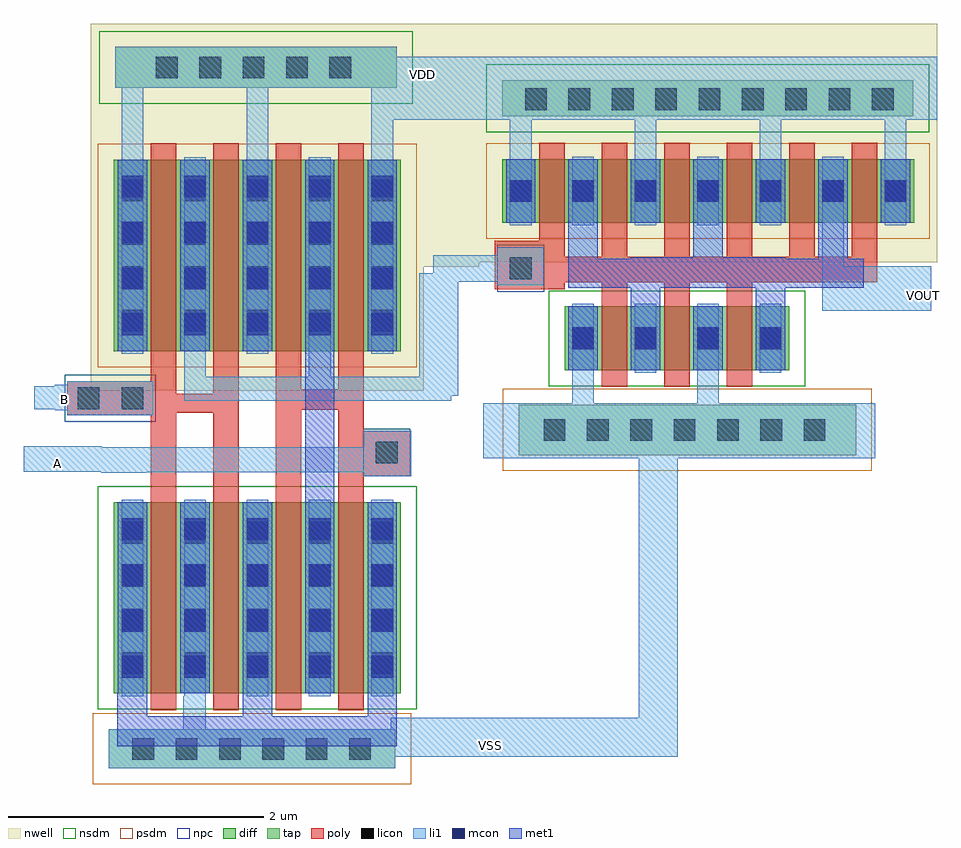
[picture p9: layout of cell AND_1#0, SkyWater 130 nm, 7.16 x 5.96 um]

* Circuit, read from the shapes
.subckt AND_1#0 A B VDD VOUT VSS
XM1 VSS B n1 VSS sky130_fd_pr__nfet_01v8 w=1.5 l=0.2 m=2
XM2 inverter_2#0_1/VIN A n1 VSS sky130_fd_pr__nfet_01v8 w=1.5 l=0.2 m=2
XM3 VOUT inverter_2#0_1/VIN VSS VSS sky130_fd_pr__nfet_01v8 w=0.5 l=0.2 m=3
XM4 inverter_2#0_1/VIN B VDD VDD sky130_fd_pr__pfet_01v8 w=1.5 l=0.2 m=2
XM5 inverter_2#0_1/VIN A VDD VDD sky130_fd_pr__pfet_01v8 w=1.5 l=0.2 m=2
XM6 VOUT inverter_2#0_1/VIN VDD VDD sky130_fd_pr__pfet_01v8 w=0.5 l=0.2 m=6
.ends

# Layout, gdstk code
import gdstk
lib = gdstk.Library(unit=1e-6, precision=1e-09)
def R(c, l, rs):  # rectangles x0, y0, x1, y1
    for r in rs: c.add(gdstk.rectangle(r[:2], r[2:], *l))
def A(c, l, x, y, w, h, nx, ny, dx, dy):  # array of equal rectangles
    R(c, l, [(x+i*dx, y+j*dy, x+i*dx+w, y+j*dy+h) for i in range(nx) for j in range(ny)])
nwell = (64, 20)
diff = (65, 20)
tap = (65, 44)
poly = (66, 20)
licon = (66, 44)
li1 = (67, 20)
mcon = (67, 44)
met1 = (68, 20)
nsdm = (93, 44)
psdm = (94, 20)
npc = (95, 20)

sky130_fd_pr__pfet_01v8_ = lib.new_cell('sky130_fd_pr__pfet_01v8_WNFSTC#0')
R(sky130_fd_pr__pfet_01v8_, nwell, [(-0.57,-1.06,0.57,1.06)])
R(sky130_fd_pr__pfet_01v8_, diff, [(-0.39,-0.75,0.39,0.75)])
R(sky130_fd_pr__pfet_01v8_, poly, [(-0.1,-0.88,0.1,0.88)])
A(sky130_fd_pr__pfet_01v8_, licon, -0.33, -0.595, 0.17, 0.17, 1, 4, 0, 0.34)
A(sky130_fd_pr__pfet_01v8_, licon, 0.16, -0.595, 0.17, 0.17, 1, 4, 0, 0.34)
R(sky130_fd_pr__pfet_01v8_, li1, [(-0.33,-0.77,-0.16,0.77), (0.16,-0.77,0.33,0.77)])
A(sky130_fd_pr__pfet_01v8_, mcon, -0.33, -0.625, 0.17, 0.17, 1, 4, 0, 0.36)
A(sky130_fd_pr__pfet_01v8_, mcon, 0.16, -0.625, 0.17, 0.17, 1, 4, 0, 0.36)
R(sky130_fd_pr__pfet_01v8_, met1, [(-0.36,-0.75,-0.13,0.75), (0.13,-0.75,0.36,0.75)])
R(sky130_fd_pr__pfet_01v8_, psdm, [(-0.515,-0.875,0.515,0.875)])

sky130_fd_pr__nfet_01v8_ = lib.new_cell('sky130_fd_pr__nfet_01v8_FQGQPX#0')
R(sky130_fd_pr__nfet_01v8_, diff, [(-0.39,-0.75,0.39,0.75)])
R(sky130_fd_pr__nfet_01v8_, poly, [(-0.1,-0.88,0.1,0.88)])
A(sky130_fd_pr__nfet_01v8_, licon, -0.33, -0.595, 0.17, 0.17, 1, 4, 0, 0.34)
A(sky130_fd_pr__nfet_01v8_, licon, 0.16, -0.595, 0.17, 0.17, 1, 4, 0, 0.34)
R(sky130_fd_pr__nfet_01v8_, li1, [(-0.33,-0.77,-0.16,0.77), (0.16,-0.77,0.33,0.77)])
A(sky130_fd_pr__nfet_01v8_, mcon, -0.33, -0.625, 0.17, 0.17, 1, 4, 0, 0.36)
A(sky130_fd_pr__nfet_01v8_, mcon, 0.16, -0.625, 0.17, 0.17, 1, 4, 0, 0.36)
R(sky130_fd_pr__nfet_01v8_, met1, [(-0.36,-0.75,-0.13,0.75), (0.13,-0.75,0.36,0.75)])
R(sky130_fd_pr__nfet_01v8_, nsdm, [(-0.515,-0.875,0.515,0.875)])

nand_magic_1_0 = lib.new_cell('NAND_MAGIC_1#0')
R(nand_magic_1_0, nwell, [(0.06,2.075,1.69,2.08), (0.06,2.08,2.67,2.835)])
R(nand_magic_1_0, tap, [(0.2,-3,2.445,-2.695), (0.25,2.335,2.46,2.655)])
R(nand_magic_1_0, poly, [(0.53,-0.87,0.73,-0.235), (1.02,-0.785,1.22,-0.215), (1.51,-0.785,1.71,-0.19), (2,-0.785,2.2,-0.71), (2,-0.71,2.57,-0.355), (2,-0.355,2.2,-0.19), (-0.125,-0.235,0.73,-0.215), (-0.125,-0.215,1.22,-0.065), (1.51,-0.19,2.2,-0.03), (-0.125,-0.065,0.73,0.035), (1.02,-0.065,1.22,0.14), (1.51,-0.03,1.71,0.14), (2,-0.03,2.2,0.14), (0.53,0.035,0.73,0.14)])
A(nand_magic_1_0, licon, 0.385, -2.935, 0.17, 0.17, 6, 1, 0.34, 0)
A(nand_magic_1_0, licon, 0.57, 2.41, 0.17, 0.17, 5, 1, 0.34, 0)
R(nand_magic_1_0, licon, [(2.295,-0.61,2.465,-0.44), (-0.045,-0.185,0.125,-0.015), (0.3,-0.185,0.47,-0.015)])
A(nand_magic_1_0, li1, 0.3, 1.77, 0.17, 0.565, 3, 1, 0.98, 0)
R(nand_magic_1_0, li1, [(0.2,-3,2.445,-2.695), (0.785,-2.695,0.96,-2.435), (2.2,-0.71,2.57,-0.68), (0.14,-0.685,0.495,-0.68), (0.14,-0.68,2.57,-0.485), (2.2,-0.485,2.57,-0.355), (-0.125,-0.235,0.55,-0.195), (-0.225,-0.195,0.55,0.005), (0.79,-0.12,2.885,0.07), (-0.125,0.005,0.55,0.035), (0.79,0.07,0.96,0.285), (1.77,0.07,1.94,0.255), (0.25,2.335,2.46,2.655)])
R(nand_magic_1_0, met1, [(0.265,-2.83,2.46,-2.595), (0.265,-2.595,0.5,-2.41), (1.25,-2.595,1.48,-2.41), (2.23,-2.595,2.46,-2.415), (1.74,-0.915,1.97,0.275)])
R(nand_magic_1_0, nsdm, [(0.125,2.21,2.585,2.78)])
R(nand_magic_1_0, psdm, [(0.075,-3.125,2.57,-2.57)])
R(nand_magic_1_0, npc, [(2.195,-0.71,2.565,-0.34), (-0.145,-0.285,0.57,0.085)])
nand_magic_1_0.add(gdstk.Reference(sky130_fd_pr__pfet_01v8_, (2.1,1.02)))
nand_magic_1_0.add(gdstk.Reference(sky130_fd_pr__pfet_01v8_, (1.12,1.02)))
nand_magic_1_0.add(gdstk.Reference(sky130_fd_pr__pfet_01v8_, (1.61,1.02)))
nand_magic_1_0.add(gdstk.Reference(sky130_fd_pr__pfet_01v8_, (0.63,1.02)))
nand_magic_1_0.add(gdstk.Reference(sky130_fd_pr__nfet_01v8_, (1.61,-1.665)))
nand_magic_1_0.add(gdstk.Reference(sky130_fd_pr__nfet_01v8_, (2.1,-1.665)))
nand_magic_1_0.add(gdstk.Reference(sky130_fd_pr__nfet_01v8_, (0.63,-1.665)))
nand_magic_1_0.add(gdstk.Reference(sky130_fd_pr__nfet_01v8_, (1.12,-1.665)))
nand_magic_1_0.add(gdstk.Label('VDD', (1.265,2.61), layer=67, texttype=5))
nand_magic_1_0.add(gdstk.Label('B', (-0.19,-0.095), layer=67, texttype=5))
nand_magic_1_0.add(gdstk.Label('VSS', (1.38,-2.85), layer=67, texttype=5))
nand_magic_1_0.add(gdstk.Label('VOUT', (2.855,-0.065), layer=67, texttype=5))

c_sky130_fd_pr__pfet_01v8_ = lib.new_cell('sky130_fd_pr__pfet_01v8_WN25TG#0')
R(c_sky130_fd_pr__pfet_01v8_, nwell, [(-0.57,-0.56,0.57,0.56)])
R(c_sky130_fd_pr__pfet_01v8_, diff, [(-0.39,-0.25,0.39,0.25)])
R(c_sky130_fd_pr__pfet_01v8_, poly, [(-0.1,-0.38,0.1,0.38)])
R(c_sky130_fd_pr__pfet_01v8_, licon, [(-0.33,-0.085,-0.16,0.085), (0.16,-0.085,0.33,0.085)])
R(c_sky130_fd_pr__pfet_01v8_, li1, [(-0.33,-0.27,-0.16,0.27), (0.16,-0.27,0.33,0.27)])
R(c_sky130_fd_pr__pfet_01v8_, mcon, [(-0.33,-0.085,-0.16,0.085), (0.16,-0.085,0.33,0.085)])
R(c_sky130_fd_pr__pfet_01v8_, met1, [(-0.36,-0.25,-0.13,0.25), (0.13,-0.25,0.36,0.25)])
R(c_sky130_fd_pr__pfet_01v8_, psdm, [(-0.515,-0.375,0.515,0.375)])

c_sky130_fd_pr__nfet_01v8_ = lib.new_cell('sky130_fd_pr__nfet_01v8_62GQ7J#0')
R(c_sky130_fd_pr__nfet_01v8_, diff, [(-0.39,-0.25,0.39,0.25)])
R(c_sky130_fd_pr__nfet_01v8_, poly, [(-0.1,-0.38,0.1,0.38)])
R(c_sky130_fd_pr__nfet_01v8_, licon, [(-0.33,-0.085,-0.16,0.085), (0.16,-0.085,0.33,0.085)])
R(c_sky130_fd_pr__nfet_01v8_, li1, [(-0.33,-0.27,-0.16,0.27), (0.16,-0.27,0.33,0.27)])
R(c_sky130_fd_pr__nfet_01v8_, mcon, [(-0.33,-0.085,-0.16,0.085), (0.16,-0.085,0.33,0.085)])
R(c_sky130_fd_pr__nfet_01v8_, met1, [(-0.36,-0.25,-0.13,0.25), (0.13,-0.25,0.36,0.25)])
R(c_sky130_fd_pr__nfet_01v8_, nsdm, [(-0.515,-0.375,0.515,0.375)])

inverter_2_0 = lib.new_cell('inverter_2#0')
R(inverter_2_0, nwell, [(0.14,0.12,0.505,0.15), (0.24,0.83,0.41,1.12), (1.22,0.83,1.39,1.12), (3.18,0.83,3.35,1.12), (0,1.12,3.59,1.615)])
R(inverter_2_0, tap, [(0.31,-1.51,2.955,-1.115), (0.18,1.145,3.405,1.43)])
A(inverter_2_0, poly, 0.96, -0.215, 0.2, 0.06, 3, 1, 0.49, 0)
A(inverter_2_0, poly, 0.96, 0.045, 0.2, 0.14, 4, 1, 0.49, 0)
R(inverter_2_0, poly, [(0.12,-0.21,0.67,-0.155), (0.12,-0.155,3.12,0.045), (0.12,0.045,0.67,0.17), (2.92,0.045,3.12,0.19), (0.47,0.17,0.67,0.24)])
A(inverter_2_0, licon, 0.505, -1.4, 0.17, 0.17, 7, 1, 0.34, 0)
A(inverter_2_0, licon, 0.36, 1.195, 0.17, 0.17, 9, 1, 0.34, 0)
R(inverter_2_0, licon, [(0.24,-0.13,0.41,0.04)])
A(inverter_2_0, li1, 0.24, 0.83, 0.17, 0.29, 4, 1, 0.98, 0)
R(inverter_2_0, li1, [(0.03,-1.535,3.105,-1.105), (0.73,-1.105,0.9,-0.815), (1.71,-1.105,1.88,-0.815), (0.14,-0.18,0.505,-0.15), (-0.36,-0.15,0.505,0.055), (0.14,0.055,0.505,0.12), (0,1.12,3.59,1.615)])
R(inverter_2_0, met1, [(1.19,-0.345,1.42,-0.2), (2.17,-0.345,2.4,-0.2), (0.7,-0.2,3.015,0.03), (0.7,0.03,0.93,0.31), (1.19,0.03,2.4,0.04), (2.66,0.03,2.89,0.31), (1.68,0.04,1.91,0.31)])
R(inverter_2_0, nsdm, [(0.055,1.02,3.53,1.555)])
R(inverter_2_0, psdm, [(0.185,-1.635,3.08,-0.99)])
R(inverter_2_0, npc, [(0.14,-0.23,0.51,0.14)])
inverter_2_0.add(gdstk.Reference(c_sky130_fd_pr__pfet_01v8_, (3.02,0.56)))
inverter_2_0.add(gdstk.Reference(c_sky130_fd_pr__pfet_01v8_, (2.53,0.56)))
inverter_2_0.add(gdstk.Reference(c_sky130_fd_pr__pfet_01v8_, (1.06,0.56)))
inverter_2_0.add(gdstk.Reference(c_sky130_fd_pr__pfet_01v8_, (1.55,0.56)))
inverter_2_0.add(gdstk.Reference(c_sky130_fd_pr__pfet_01v8_, (2.04,0.56)))
inverter_2_0.add(gdstk.Reference(c_sky130_fd_pr__pfet_01v8_, (0.57,0.56)))
inverter_2_0.add(gdstk.Reference(c_sky130_fd_pr__nfet_01v8_, (2.04,-0.595)))
inverter_2_0.add(gdstk.Reference(c_sky130_fd_pr__nfet_01v8_, (1.55,-0.595)))
inverter_2_0.add(gdstk.Reference(c_sky130_fd_pr__nfet_01v8_, (1.06,-0.595)))
inverter_2_0.add(gdstk.Label('VOUT', (2.885,-0.13), layer=68, texttype=5))
inverter_2_0.add(gdstk.Label('VDD', (1.76,1.3), layer=67, texttype=5))
inverter_2_0.add(gdstk.Label('VSS', (1.585,-1.325), layer=67, texttype=5))
inverter_2_0.add(gdstk.Label('VIN', (-0.17,-0.08), layer=67, texttype=5))

and_1_0 = lib.new_cell('AND_1#0')
R(and_1_0, nwell, [(2.91,3.955,3.345,4.34), (2.89,4.34,3.345,4.68), (2.91,4.68,3.345,5.11), (2.665,5.11,3.355,5.205), (2.665,5.205,4.285,5.605), (2.91,5.605,6.935,5.86)])
R(and_1_0, li1, [(2.65,0.115,4.9,0.42), (4.595,0.42,4.9,2.59), (-0.225,2.35,0.385,2.55), (-0.145,2.84,0.355,3.02), (2.875,2.945,3.18,3.905), (6.035,3.61,6.89,3.96), (6.035,3.96,6.205,4.285), (2.665,5.11,3.355,5.605)])
and_1_0.add(gdstk.Reference(nand_magic_1_0, (0.24,3.025)))
and_1_0.add(gdstk.Reference(inverter_2_0, (3.345,3.99)))
and_1_0.add(gdstk.Label('A', (0.035,2.41), layer=67, texttype=5))
and_1_0.add(gdstk.Label('B', (0.095,2.915), layer=67, texttype=5))
and_1_0.add(gdstk.Label('VOUT', (6.83,3.73), layer=67, texttype=5))
and_1_0.add(gdstk.Label('VSS', (3.435,0.2), layer=67, texttype=5))
and_1_0.add(gdstk.Label('VDD', (2.9,5.465), layer=67, texttype=5))

lib.write_gds('AND_1_0.gds')
